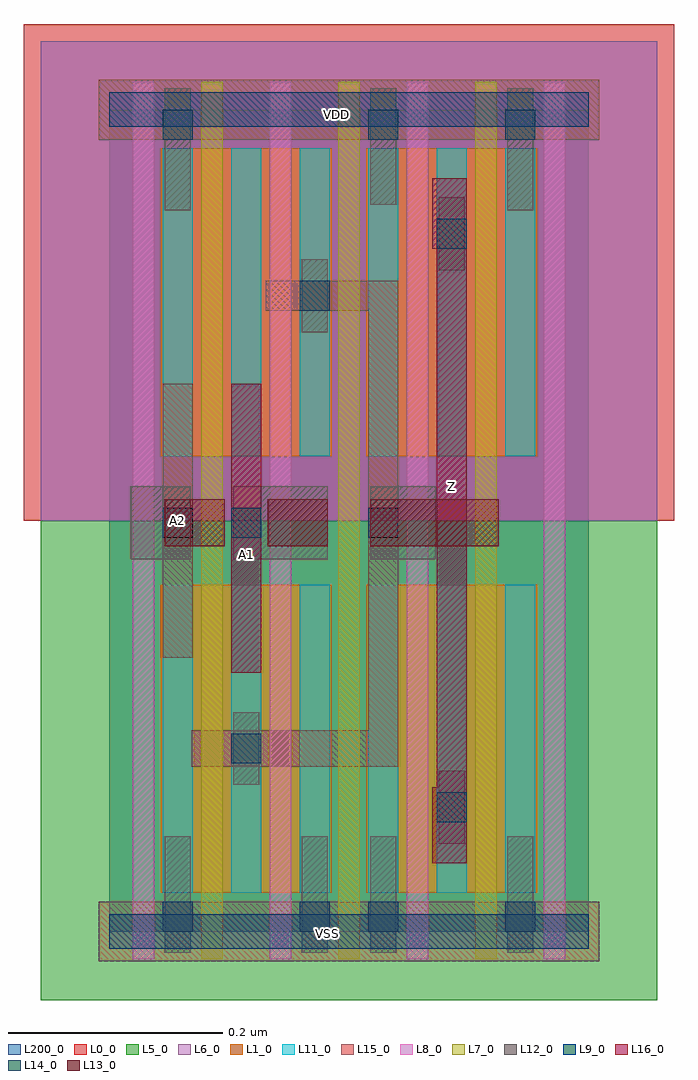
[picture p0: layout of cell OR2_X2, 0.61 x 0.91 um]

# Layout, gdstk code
import gdstk
lib = gdstk.Library(unit=1e-6, precision=1e-09)
def R(c, l, rs):  # rectangles x0, y0, x1, y1
    for r in rs: c.add(gdstk.rectangle(r[:2], r[2:], *l))
def A(c, l, x, y, w, h, nx, ny, dx, dy):  # array of equal rectangles
    R(c, l, [(x+i*dx, y+j*dy, x+i*dx+w, y+j*dy+h) for i in range(nx) for j in range(ny)])
def P(c, l, *ps):  # polygons
    for p in ps: c.add(gdstk.Polygon(p, *l))
L0_0 = (0, 0)
L1_0 = (1, 0)
L5_0 = (5, 0)
L6_0 = (6, 0)
L7_0 = (7, 0)
L8_0 = (8, 0)
L9_0 = (9, 0)
L11_0 = (11, 0)
L12_0 = (12, 0)
L13_0 = (13, 0)
L14_0 = (14, 0)
L15_0 = (15, 0)
L16_0 = (16, 0)
L200_0 = (200, 0)

or2_x2 = lib.new_cell('OR2_X2')
R(or2_x2, L0_0, [(-0.08,0.384,0.528,0.848)])
R(or2_x2, L1_0, [(0.048,0.036,0.208,0.324), (0.24,0.036,0.4,0.324), (0.048,0.444,0.208,0.732), (0.24,0.444,0.4,0.732)])
R(or2_x2, L5_0, [(-0.064,-0.064,0.512,0.384)])
R(or2_x2, L6_0, [(-0.064,0.384,0.512,0.832)])
A(or2_x2, L7_0, 0.086, -0.026, 0.02, 0.82, 3, 1, 0.128, 0)
A(or2_x2, L8_0, 0.022, -0.026, 0.02, 0.82, 4, 1, 0.128, 0)
R(or2_x2, L9_0, [(0,-0.016,0.448,0.016), (0,0.752,0.448,0.784)])
A(or2_x2, L11_0, 0.05, 0.036, 0.028, 0.288, 6, 2, 0.064, 0.408)
R(or2_x2, L12_0, [(0.052,-0.02,0.076,0.089), (0.18,-0.02,0.204,0.089), (0.244,-0.02,0.268,0.089), (0.372,-0.02,0.396,0.089), (0.308,0.082,0.332,0.15), (0.116,0.137,0.14,0.205), (0.02,0.348,0.076,0.416), (0.116,0.348,0.204,0.416), (0.244,0.348,0.305,0.416), (0.18,0.56,0.204,0.628), (0.308,0.618,0.332,0.686), (0.052,0.674,0.076,0.788), (0.372,0.674,0.396,0.788), (0.244,0.679,0.268,0.788)])
R(or2_x2, L13_0, [(0.052,0.36,0.108,0.404), (0.148,0.36,0.204,0.404), (0.244,0.36,0.364,0.404)])
R(or2_x2, L14_0, [(0.05,0,0.078,0.028), (0.178,0,0.206,0.028), (0.242,0,0.27,0.028), (0.37,0,0.398,0.028), (0.306,0.102,0.334,0.13), (0.114,0.157,0.142,0.185), (0.05,0.368,0.078,0.396), (0.114,0.368,0.142,0.396), (0.242,0.368,0.27,0.396), (0.178,0.58,0.206,0.608), (0.306,0.638,0.334,0.666), (0.05,0.74,0.078,0.768), (0.242,0.74,0.27,0.768), (0.37,0.74,0.398,0.768)])
R(or2_x2, L15_0, [(-0.01,-0.028,0.458,0.028), (0.05,0.256,0.078,0.512), (-0.01,0.74,0.458,0.796)])
P(or2_x2, L15_0, [(0.146,0.58),(0.242,0.58),(0.242,0.188),(0.077,0.188),(0.077,0.154),(0.27,0.154),(0.27,0.608),(0.146,0.608)])
R(or2_x2, L16_0, [(0.114,0.242,0.142,0.512)])
P(or2_x2, L16_0, [(0.302,0.638),(0.306,0.638),(0.306,0.135),(0.302,0.135),(0.302,0.064),(0.334,0.064),(0.334,0.704),(0.302,0.704)])
R(or2_x2, L200_0, [(0,0,0.448,0.768)])
or2_x2.add(gdstk.Label('VSS', (0.204,-0.002), layer=15, texttype=20))
or2_x2.add(gdstk.Label('A2', (0.064,0.384), layer=15, texttype=20))
or2_x2.add(gdstk.Label('VDD', (0.212,0.763), layer=15, texttype=20))
or2_x2.add(gdstk.Label('A1', (0.128,0.352), layer=16, texttype=20))
or2_x2.add(gdstk.Label('Z', (0.32,0.416), layer=16, texttype=20))

lib.write_gds('OR2_X2.gds')
